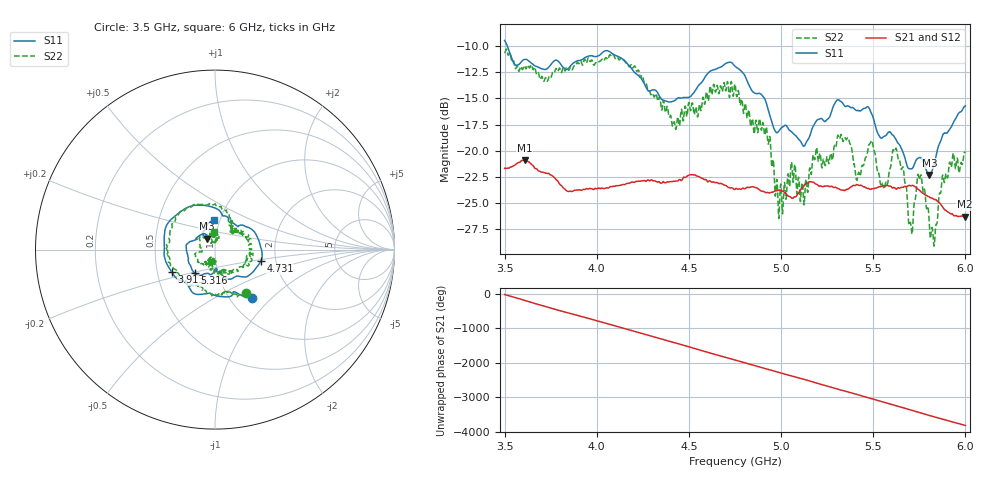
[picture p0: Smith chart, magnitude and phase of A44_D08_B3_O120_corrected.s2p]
! Created with skrf 1.9.0 (http://scikit-rf.org).
# Hz S RI R 50.0
!freq ReS11 ImS11 ReS21 ImS21 ReS12 ImS12 ReS22 ImS22
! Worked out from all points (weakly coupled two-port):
!   1601 points, 3.5 GHz to 6 GHz, reference 50 ohm
!   highest |S21| = -20.90 dB at 3.609 GHz (marker M1); lowest = -26.3 dB at 5.995 GHz (marker M2)
!   lowest |S11| = -22.3 dB at 5.805 GHz (marker M3), VSWR 1.17, Z = 45.2 + j5.53 ohm
!   |S11| at or under -10 dB: 3.515 GHz to end of sweep
!   |S22| runs from -29.2 to -10.3 dB; largest |S21 - S12| = 0.0011
!   S11 on the Smith chart (normalised r, x): 3.5 GHz: 1.26, -0.76; 3.913 GHz: 0.60, -0.16; 4.731 GHz: 1.67, -0.23; 5.316 GHz: 0.77, -0.21; 6 GHz: 0.93, +0.31
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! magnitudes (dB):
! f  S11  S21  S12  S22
! 3.5 GHz  -9.4  -21.7  -21.7  -10.6
! 3.609 GHz  -11.2  -20.9  -20.9  -11.9
! 3.913 GHz  -11.3  -23.8  -23.8  -11.4
! 3.917 GHz  -11.3  -23.8  -23.8  -11.6
! 4.139 GHz  -11.2  -23.3  -23.3  -11.2
! 4.334 GHz  -14.6  -23.0  -22.9  -15.2
! 4.42 GHz  -15.2  -22.9  -22.9  -17.2
! 4.731 GHz  -11.6  -23.6  -23.5  -13.4
! 4.75 GHz  -11.9  -23.7  -23.6  -13.6
! 4.93 GHz  -16.0  -24.0  -24.0  -19.4
! 4.997 GHz  -17.9  -23.8  -23.8  -23.3
! 5.167 GHz  -17.9  -23.0  -23.0  -21.7
! 5.316 GHz  -15.2  -23.7  -23.6  -18.8
! 5.416 GHz  -16.1  -23.3  -23.3  -22.4
! 5.486 GHz  -16.2  -23.7  -23.7  -19.2
! 5.584 GHz  -18.2  -23.4  -23.4  -22.3
! 5.631 GHz  -19.2  -23.6  -23.6  -20.4
! 5.703 GHz  -21.7  -23.4  -23.3  -27.0
! 5.753 GHz  -20.7  -23.8  -23.8  -22.6
! 5.805 GHz  -22.3  -24.5  -24.4  -27.2
! 5.995 GHz  -15.7  -26.3  -26.3  -20.1
! 6 GHz  -15.7  -26.3  -26.3  -20.2
